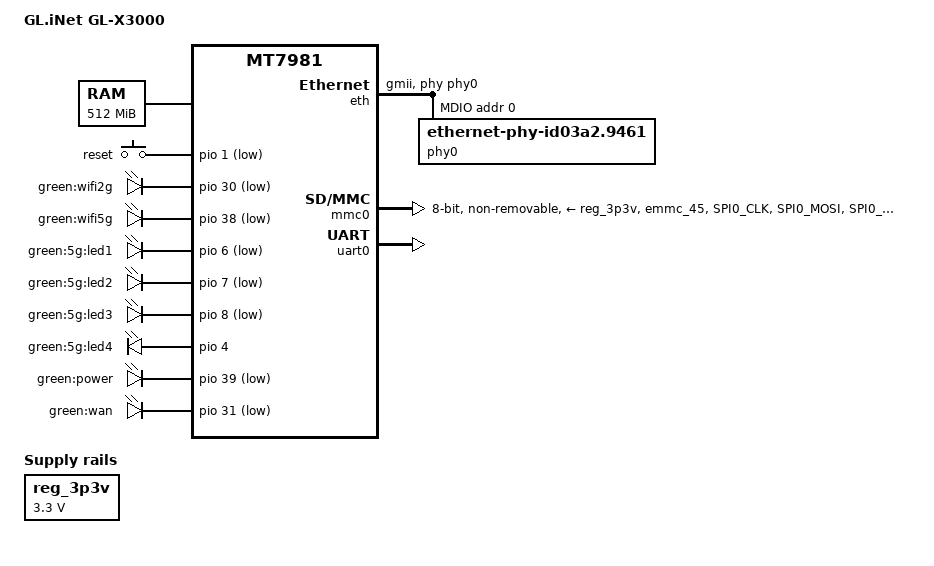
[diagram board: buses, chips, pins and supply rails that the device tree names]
// SPDX-License-Identifier: GPL-2.0

/dts-v1/;
#include "mt7981.dtsi"
#include <dt-bindings/gpio/gpio.h>
#include <dt-bindings/input/linux-event-codes.h>

/ {
	#address-cells = <1>;
	#size-cells = <1>;
	model = "GL.iNet GL-X3000";
	compatible = "glinet,gl-x3000", "mediatek,mt7981";

	chosen {
		stdout-path = &uart0;
		tick-timer = &timer0;
	};

	memory@40000000 {
		device_type = "memory";
		reg = <0x40000000 0x20000000>;
	};

	reg_3p3v: regulator-3p3v {
		compatible = "regulator-fixed";
		regulator-name = "fixed-3.3V";
		regulator-min-microvolt = <3300000>;
		regulator-max-microvolt = <3300000>;
		regulator-boot-on;
		regulator-always-on;
	};

	keys {
		compatible = "gpio-keys";

		reset {
			label = "reset";
			linux,code = <KEY_RESTART>;
			gpios = <&pio 1 GPIO_ACTIVE_LOW>;
		};
	};

	leds {
		compatible = "gpio-leds";

		wifi2g {
			label = "green:wifi2g";
			gpios = <&pio 30 GPIO_ACTIVE_LOW>;
		};

		wifi5g {
			label = "green:wifi5g";
			gpios = <&pio 38 GPIO_ACTIVE_LOW>;
		};

		5g_led1 {
			label = "green:5g:led1";
			gpios = <&pio 6 GPIO_ACTIVE_LOW>;
		};

		5g_led2 {
			label = "green:5g:led2";
			gpios = <&pio 7 GPIO_ACTIVE_LOW>;
		};

		5g_led3 {
			label = "green:5g:led3";
			gpios = <&pio 8 GPIO_ACTIVE_LOW>;
		};

		5g_led4 {
			label = "green:5g:led4";
			gpios = <&pio 4 GPIO_ACTIVE_HIGH>;
		};

		power {
			label = "green:power";
			gpios = <&pio 39 GPIO_ACTIVE_LOW>;
		};

		wan {
			label = "green:wan";
			gpios = <&pio 31 GPIO_ACTIVE_LOW>;
		};
	};
};

&eth {
	status = "okay";
	mediatek,gmac-id = <1>;
	phy-mode = "gmii";
	phy-handle = <&phy0>;

	mdio {
		phy0: ethernet-phy@0 {
			compatible = "ethernet-phy-id03a2.9461";
			reg = <0x0>;
			phy-mode = "gmii";
		};
	};
};

&mmc0 {
	pinctrl-names = "default";
	pinctrl-0 = <&mmc0_pins_default>;
	max-frequency = <52000000>;
	bus-width = <8>;
	cap-mmc-hw-highspeed;
	cap-mmc-hw-reset;
	vmmc-supply = <&reg_3p3v>;
	non-removable;
	status = "okay";
};

&pio {
	mmc0_pins_default: mmc0-pins-default {
		mux {
			function = "flash";
			groups =  "emmc_45";
		};
		conf-cmd-dat {
			pins = "SPI0_CLK", "SPI0_MOSI", "SPI0_MISO",
				"SPI0_CS",  "SPI0_HOLD", "SPI0_WP",
				"SPI1_CLK", "SPI1_MOSI", "SPI1_MISO";
			input-enable;
			drive-strength = <MTK_DRIVE_4mA>;
			bias-pull-up = <MTK_PUPD_SET_R1R0_01>;
		};
		conf-clk {
			pins = "SPI1_CS";
			drive-strength = <MTK_DRIVE_6mA>;
			bias-pull-down = <MTK_PUPD_SET_R1R0_10>;
		};
		conf-rst {
			pins = "GPIO_WPS";
			drive-strength = <MTK_DRIVE_4mA>;
			bias-pull-up = <MTK_PUPD_SET_R1R0_01>;
		};
	};
};

&uart0 {
	status = "okay";
};
